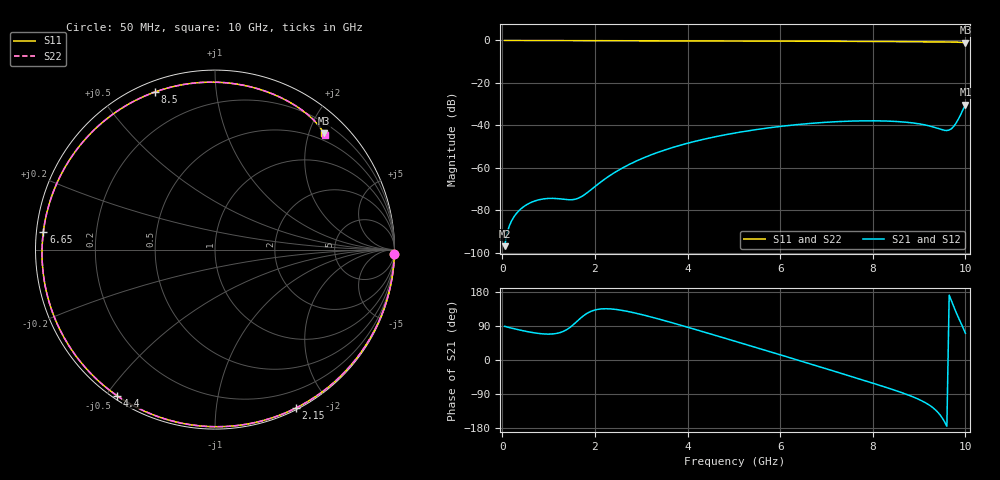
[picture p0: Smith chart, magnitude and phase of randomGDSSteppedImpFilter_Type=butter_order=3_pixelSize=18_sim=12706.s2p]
! freq	dB(S11)	phase(S11)	dB(S12)	phase(S12)
!  dB(S21)	phase(S21)	dB(S22)	phase(S22)
!S-par simulation data
#  GHz  S  DB  R 50
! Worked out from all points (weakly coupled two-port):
!   200 points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, 50 MHz to 10 GHz, reference 50 ohm
!   highest |S21| = -30.25 dB at 10 GHz (marker M1); lowest = -97.0 dB at 50 MHz (marker M2)
!   lowest |S11| = -1.0 dB at 10 GHz (marker M3), VSWR 16.74, Z = 18.5 + j113 ohm
!   |S11| at or under -10 dB: nowhere
!   |S22| runs from -1.0 to 0.0 dB; largest |S21 - S12| = 0
!   S11 on the Smith chart (normalised r, x): 50 MHz: 0, -75; 2.15 GHz: 0.02, -1.63; 4.4 GHz: 0.01, -0.53; 6.65 GHz: 0.02, +0.05; 8.5 GHz: 0.05, +0.69; 10 GHz: 0.37, +2.26
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0.05  -0.00 -1.5  -96.98 88.8  -96.98 88.8  -0.00 -1.5
0.35  -0.01 -10.5  -80.46 79.8  -80.46 79.8  -0.01 -10.5
0.6  -0.02 -18.0  -76.57 73.6  -76.57 73.6  -0.02 -18.0
0.85  -0.03 -25.4  -74.83 69.2  -74.83 69.2  -0.03 -25.4
1.5  -0.06 -44.5  -75.08 89.7  -75.08 89.7  -0.06 -44.4
1.75  -0.06 -51.7  -73.07 116.4  -73.07 116.4  -0.06 -51.6
2.15  -0.08 -63.0  -66.36 135.0  -66.36 135.0  -0.08 -63.0
2.7  -0.10 -78.3  -58.90 128.4  -58.90 128.4  -0.10 -78.3
3.4  -0.13 -97.3  -52.44 107.4  -52.44 107.4  -0.13 -97.3
4.4  -0.17 -123.8  -46.33 72.3  -46.33 72.3  -0.17 -123.9
5.05  -0.21 -141.1  -43.53 48.6  -43.53 48.6  -0.21 -141.1
5.9  -0.27 -164.3  -40.79 17.5  -40.79 17.5  -0.28 -164.4
6.65  -0.34 174.0  -39.11 -10.3  -39.11 -10.3  -0.34 173.9
6.7  -0.35 172.5  -39.02 -12.2  -39.02 -12.2  -0.35 172.4
7.55  -0.43 145.4  -38.00 -44.0  -38.00 -44.0  -0.44 145.2
8.35  -0.52 116.7  -38.03 -74.7  -38.03 -74.7  -0.53 116.4
8.5  -0.54 111.0  -38.19 -80.8  -38.19 -80.8  -0.54 110.6
9.1  -0.62 86.6  -39.70 -110.3  -39.70 -110.3  -0.62 86.1
9.55  -0.69 67.2  -42.38 -163.0  -42.38 -163.0  -0.70 66.5
9.65  -0.72 62.7  -42.23 171.1  -42.23 171.1  -0.73 62.0
9.8  -0.79 55.8  -38.89 125.6  -38.89 125.6  -0.80 55.2
10  -1.04 46.9  -30.25 70.5  -30.25 70.5  -1.05 46.2
